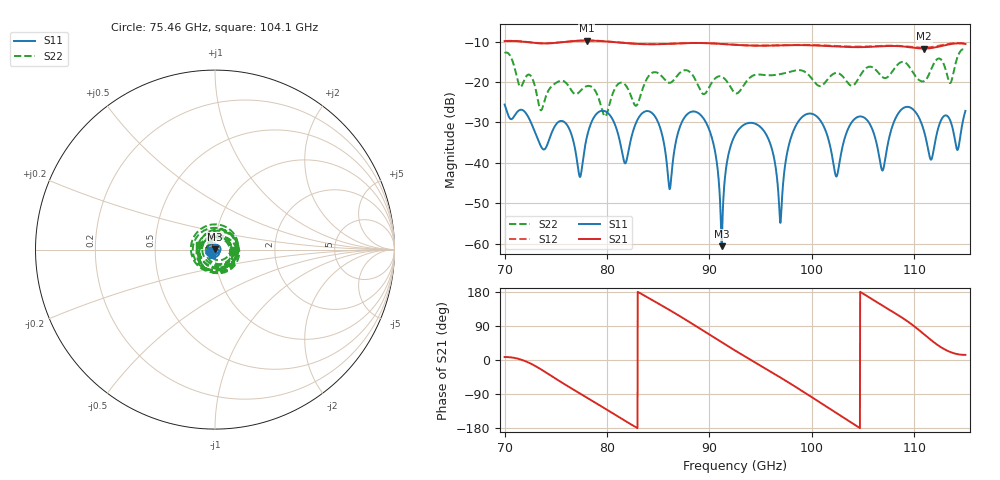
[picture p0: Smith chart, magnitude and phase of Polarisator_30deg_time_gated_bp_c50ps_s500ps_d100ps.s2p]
# Hz S RI R 1.000000
! Metas.Vna.Tools, 2.4.7898.19887
! Metas.Vna.Data, 2.4.7898.19873
! Created: UTC 2021.09.30 14:31:00
! FREQ  re:S1,1  im:S1,1  re:S2,1  im:S2,1  re:S1,2  im:S1,2  re:S2,2  im:S2,2
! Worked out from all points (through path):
!   2251 points, 70 GHz to 115 GHz, reference 1 ohm
!   highest |S21| = -9.72 dB at 78.02 GHz (marker M1); lowest = -11.7 dB at 111 GHz (marker M2)
!   lowest |S11| = -60.6 dB at 91.2 GHz (marker M3), VSWR 1.00, Z = 1 + j0.00183 ohm
!   |S11| at or under -10 dB: start of sweep to end of sweep
!   |S22| runs from -28.5 to -11.9 dB; largest |S21 - S12| = 0.055
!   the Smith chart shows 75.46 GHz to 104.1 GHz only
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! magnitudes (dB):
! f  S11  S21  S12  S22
! 70 GHz  -25.6  -9.9  -9.8  -12.8
! 73.54 GHz  -35.9  -10.4  -10.4  -27.0
! 75.76 GHz  -29.8  -10.1  -10.1  -19.8
! 77.5 GHz  -42.1  -9.7  -9.7  -21.9
! 78.02 GHz  -33.8  -9.7  -9.7  -21.0
! 79.82 GHz  -27.2  -9.9  -9.9  -28.5
! 81.76 GHz  -40.1  -10.3  -10.3  -20.6
! 85 GHz  -30.0  -10.6  -10.6  -17.8
! 86.12 GHz  -46.5  -10.5  -10.5  -20.2
! 87.42 GHz  -29.4  -10.4  -10.4  -17.2
! 89.42 GHz  -29.0  -10.3  -10.3  -23.0
! 91.2 GHz  -60.6  -10.6  -10.5  -18.7
! 92.5 GHz  -33.2  -10.8  -10.8  -22.7
! 95.42 GHz  -32.5  -11.0  -11.0  -18.3
! 96.94 GHz  -54.9  -10.9  -10.9  -18.0
! 98.02 GHz  -33.3  -10.9  -10.8  -17.3
! 100 GHz  -27.9  -10.9  -10.8  -19.1
! 102.4 GHz  -43.4  -11.2  -11.1  -17.7
! 104.4 GHz  -28.8  -11.4  -11.2  -19.9
! 107.5 GHz  -34.4  -11.1  -11.0  -18.6
! 111 GHz  -32.3  -11.7  -11.5  -19.8
! 115 GHz  -27.1  -10.6  -10.4  -12.1
